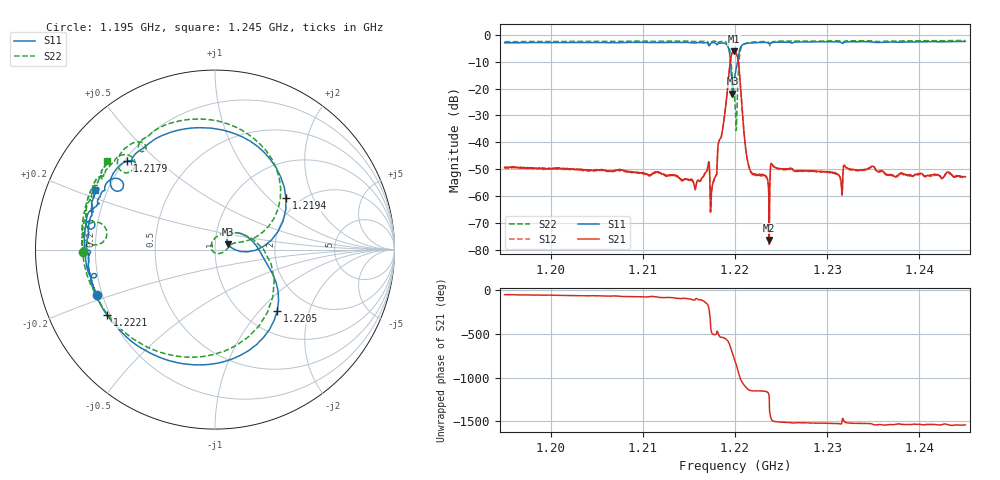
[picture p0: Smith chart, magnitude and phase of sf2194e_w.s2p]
!SF2194
# HZ S RI R 50
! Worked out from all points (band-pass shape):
!   1601 points, 1.195 GHz to 1.245 GHz, reference 50 ohm
!   highest |S21| = -6.21 dB at 1.2199 GHz (marker M1); lowest = -76.2 dB at 1.2237 GHz (marker M2)
!   |S21| within 3 dB of the highest: 1.219518 GHz to 1.220327 GHz (809.5 kHz wide, 0.0664 % of centre)
!   lowest |S11| = -21.9 dB at 1.2197 GHz (marker M3), VSWR 1.17, Z = 57.9 + j3.53 ohm
!   |S11| at or under -10 dB: 1.219502 GHz to 1.220297 GHz (794.8 kHz wide, 0.0652 % of centre)
!   |S22| runs from -35.6 to -2.2 dB; largest |S21 - S12| = 0.012
!   S11 on the Smith chart (normalised r, x): 1.195 GHz: 0.18, -0.18; 1.2179 GHz: 0.21, +0.40; 1.2194 GHz: 1.71, +1.28; 1.2205 GHz: 1.41, -1.25; 1.2221 GHz: 0.19, -0.27; 1.245 GHz: 0.15, +0.23
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1.195e9  -0.6579 -0.2504  0.0019 -0.00288  0.00184 -0.00284  -0.7359 -0.0125
1.203344e9  -0.705 -0.0986  0.00116 -0.00297  0.0011 -0.00285  -0.7364 0.1315
1.211687e9  -0.7042 0.0904  0.000193 -0.00281  0.000211 -0.00271  -0.6887 0.2929
1.215656e9  -0.6445 0.2558  -0.000614 -0.00126  -0.00057 -0.00129  -0.6084 0.424
1.217e9  -0.5645 0.3962  -0.00311 -0.000801  -0.00301 -0.000834  -0.5166 0.5277
1.217531e9  -0.5715 0.4159  -0.00116 -0.000971  -0.00111 -0.00104  -0.5337 0.5215
1.217875e9  -0.4881 0.4937  -0.00202 -0.00116  -0.00197 -0.00119  -0.458 0.5936
1.218906e9  -0.0853 0.6794  -0.0344 0.00865  -0.0346 0.00884  -0.1261 0.7267
1.219375e9  0.3957 0.2856  -0.0543 0.2093  -0.0512 0.2076  0.3396 0.4571
1.219719e9  0.074 0.0303  0.467 -0.0331  0.4689 -0.0316  0.1454 0.0419
1.219875e9  0.0911 0.0896  0.2954 -0.3897  0.2952 -0.3942  0.0859 0.0244
1.22e9  0.1581 0.0835  -0.00812 -0.478  -0.0154 -0.4828  0.0531 -0.00977
1.220219e9  0.2662 -0.0392  -0.3942 -0.1276  -0.3958 -0.116  -0.0174 0.0413
1.220469e9  0.3472 -0.3397  -0.0459 0.2043  -0.045 0.2028  0.3302 -0.1694
1.220812e9  -0.0483 -0.6411  0.0313 0.0112  0.0312 0.0107  -0.2253 -0.5918
1.22125e9  -0.3857 -0.5633  0.00459 -0.00369  0.00444 -0.00377  -0.5824 -0.3819
1.222062e9  -0.6028 -0.3629  0.000784 -0.00245  0.000715 -0.00238  -0.7205 -0.1169
1.223719e9  -0.661 -0.1389  -0.000153 -2.81e-05  -0.000119 7.5e-06  -0.6627 0.1536
1.224094e9  -0.701 -0.1375  0.00224 -0.00296  0.00226 -0.00294  -0.7289 0.0645
1.228344e9  -0.7277 0.0601  0.000622 -0.00289  0.000596 -0.00282  -0.7094 0.2789
1.236687e9  -0.6899 0.2175  -0.000342 -0.00247  -0.000293 -0.00242  -0.639 0.3969
1.245e9  -0.6685 0.3295  -0.000384 -0.00228  -0.000434 -0.00231  -0.6005 0.4931
